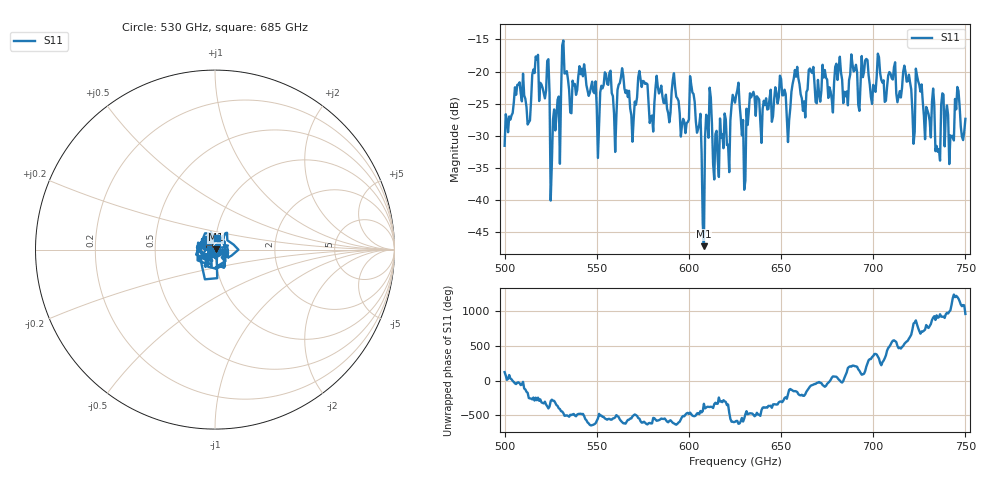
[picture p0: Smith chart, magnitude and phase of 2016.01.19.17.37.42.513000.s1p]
!Created with skrf (http://scikit-rf.org).
# GHz S RI R 50.0
!freq ReS11 ImS11
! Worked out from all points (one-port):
!   401 points, 500 GHz to 750 GHz, reference 50 ohm
!   lowest |S11| = -47.2 dB at 608.1 GHz (marker M1), VSWR 1.01, Z = 50.4 + j0.19 ohm
!   |S11| at or under -10 dB: start of sweep to end of sweep
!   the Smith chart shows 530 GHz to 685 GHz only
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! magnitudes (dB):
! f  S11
! 500 GHz  -31.5
! 506.9 GHz  -22.1
! 513.1 GHz  -27.9
! 516.9 GHz  -17.6
! 523.1 GHz  -18.3
! 526.2 GHz  -27.5
! 531.2 GHz  -15.9
! 551.2 GHz  -28.3
! 556.2 GHz  -22.1
! 559.4 GHz  -26.6
! 562.5 GHz  -21.8
! 569.4 GHz  -30.9
! 573.8 GHz  -21.2
! 579.4 GHz  -27.0
! 593.8 GHz  -24.2
! 601.9 GHz  -23.2
! 608.1 GHz  -47.2
! 610.6 GHz  -30.3
! 615 GHz  -29.2
! 625 GHz  -24.8
! 629.4 GHz  -27.5
! 634.4 GHz  -23.6
! 656.2 GHz  -21.9
! 687.5 GHz  -20.5
! 718.8 GHz  -21.5
! 735 GHz  -32.5
! 738.1 GHz  -23.6
! 750 GHz  -27.4
